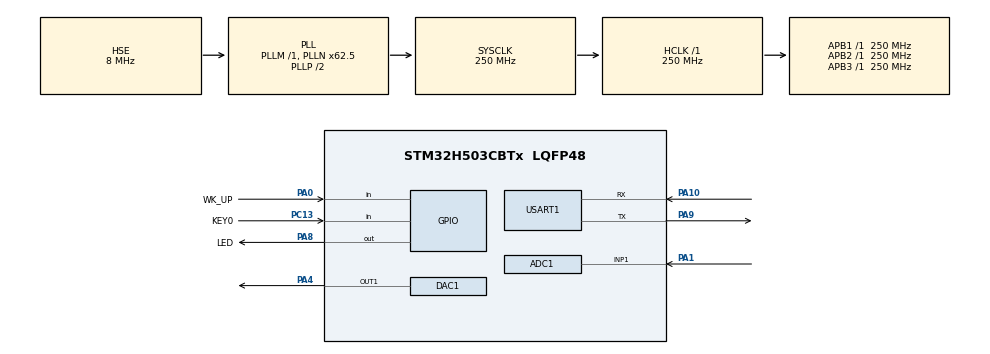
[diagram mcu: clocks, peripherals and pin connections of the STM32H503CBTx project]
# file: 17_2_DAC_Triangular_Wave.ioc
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ADC1.Channel-0\#ChannelRegularConversion=ADC_CHANNEL_1
ADC1.ClockPrescaler=ADC_CLOCK_ASYNC_DIV8
ADC1.MonitoredBy-0\#ChannelRegularConversion=__NULL
ADC1.NbrOfConversionFlag=1
ADC1.OffsetNumber-0\#ChannelRegularConversion=ADC_OFFSET_NONE
ADC1.Rank-0\#ChannelRegularConversion=1
ADC1.SamplingTime-0\#ChannelRegularConversion=ADC_SAMPLETIME_247CYCLES_5
ADC1.master=1
BOOTPATH.BootPathName=LEGACY
BOOTPATH.UserSelectedBootPath=LEGACY
DAC1.DAC_Channel-DAC_OUT1=DAC_CHANNEL_1
Mcu.Family=STM32H5
Mcu.Name=STM32H503CBTx
Mcu.Package=LQFP48
NVIC.PriorityGroup=NVIC_PRIORITYGROUP_2
NVIC.USART1_IRQn=true\:2\:2\:true\:false\:true\:true\:true\:true
PA0.GPIO_Label=WK_UP
PA0.GPIO_PuPd=GPIO_PULLDOWN
PA0.Signal=GPIO_Input
PA1.GPIO_PuPd=GPIO_NOPULL
PA1.Signal=ADCx_INP1
PA10.GPIO_ModeDefaultPP=GPIO_MODE_AF_PP
PA10.GPIO_Speed=GPIO_SPEED_FREQ_LOW
PA10.Mode=Asynchronous
PA10.Signal=USART1_RX
PA4.Signal=COMP_DAC11_group
PA8.GPIO_Label=LED
PA8.GPIO_ModeDefaultOutputPP=GPIO_MODE_OUTPUT_PP
PA8.GPIO_PuPd=GPIO_PULLUP
PA8.PinState=GPIO_PIN_SET
PA8.Signal=GPIO_Output
PA9.GPIO_Speed=GPIO_SPEED_FREQ_HIGH
PA9.Mode=Asynchronous
PA9.Signal=USART1_TX
PC13.GPIO_Label=KEY0
PC13.GPIO_PuPd=GPIO_PULLDOWN
PC13.Signal=GPIO_Input
PC14-OSC32_IN(OSC32_IN).Mode=LSE-External-Oscillator
PC14-OSC32_IN(OSC32_IN).Signal=RCC_OSC32_IN
PC15-OSC32_OUT(OSC32_OUT).Mode=LSE-External-Oscillator
PC15-OSC32_OUT(OSC32_OUT).Signal=RCC_OSC32_OUT
PH0-OSC_IN(PH0).Mode=HSE-External-Oscillator
PH0-OSC_IN(PH0).Signal=RCC_OSC_IN
PH1-OSC_OUT(PH1).Mode=HSE-External-Oscillator
PH1-OSC_OUT(PH1).Signal=RCC_OSC_OUT
ProjectManager.HeapSize=0x200
ProjectManager.StackSize=0x400
ProjectManager.TargetToolchain=STM32CubeIDE
RCC.ADCFreq_Value=250000000
RCC.AHBFreq_Value=250000000
RCC.APB1Freq_Value=250000000
RCC.APB1TimFreq_Value=250000000
RCC.APB2Freq_Value=250000000
RCC.APB2TimFreq_Value=250000000
RCC.APB3Freq_Value=250000000
RCC.CSI_VALUE=4000000
RCC.CortexFreq_Value=250000000
RCC.EPOD_VALUE=8000000
RCC.HCLKFreq_Value=250000000
RCC.HSE_VALUE=8000000
RCC.HSI48_VALUE=48000000
RCC.HSI_VALUE=64000000
RCC.LSIRC_VALUE=32000
RCC.PLL2Q=20
RCC.PLLFRACN=4096
RCC.PLLN=62
RCC.PLLSourceVirtual=RCC_PLL1_SOURCE_HSE
RCC.PREFETCH_ENABLE=1
RCC.SYSCLKFreq_VALUE=250000000
RCC.SYSCLKSource=RCC_SYSCLKSOURCE_PLLCLK
RCC.USBFreq_Value=48000000
RCC.VCOOutputFreq_Value=500000000
SH.ADCx_INP1.0=ADC1_INP1,IN1-Single-Ended
SH.COMP_DAC11_group.0=DAC1_OUT1,DAC_OUT1
USART1.VirtualMode=VM_ASYNC
VP_BOOTPATH_VS_BOOTPATH.Mode=BP_Activate
VP_ICACHE_VS_ICACHE.Mode=DefaultMode
VP_MEMORYMAP_VS_MEMORYMAP.Mode=CurAppReg
VP_PWR_VS_DBSignals.Mode=DisableDeadBatterySignals
VP_PWR_VS_LPOM.Mode=PowerOptimisation
VP_PWR_VS_SECSignals.Mode=Security/Privilege
board=custom

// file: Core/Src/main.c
/**
 ****************************************************************************************************
 * @file        main.c
 * @author      ALIENTEK
 * @brief       DAC_Triangular_Wave code
 * @license     Copyright (C) 2012-2024, ALIENTEK
 ****************************************************************************************************
 * @attention
 *
 * platform     : ALIENTEK M48-STM32H503 board
 * website      : www.alientek.com
 * forum        : www.openedv.com/forum.php
 *
 * change logs  ：
 * version      data         notes
 * V1.0         20240309     the first version
 *
 ****************************************************************************************************
 */

/* USER CODE BEGIN Header */

/* USER CODE END Header */
#include "main.h"
#include "adc.h"
#include "dac.h"
#include "icache.h"
#include "memorymap.h"
#include "usart.h"
#include "gpio.h"

/* USER CODE BEGIN Includes */
#include "../../BSP/LED/led.h"
#include "../../BSP/KEY/key.h"
#include "../../BSP/DELAY/delay.h"
/* USER CODE END Includes */

void SystemClock_Config(void);

/* USER CODE BEGIN 0 */
/**
 * @brief   Displays information about the experiment
 * @param   None
 * @retval  None
 */
void stm32h503cb_show_mesg(void)
{
	/* The serial port outputs the experimental information */
	printf("\n");
	printf("********************************\r\n");
	printf("STM32H503\r\n");
	printf("DAC Triangular WAVE Test\r\n");
	printf("ATOM@ALIENTEK\r\n");
	printf("KEY0:Wave1  WKUP:Wave2\r\n");
	printf("********************************\r\n");
	printf("\r\n");
}
/* USER CODE END 0 */

int main(void)
{
  /* USER CODE BEGIN 1 */
  uint8_t t = 0;
  uint8_t key;
  /* USER CODE END 1 */

  /* MCU Configuration--------------------------------------------------------*/

  /* Reset of all peripherals, Initializes the Flash interface and the Systick. */
  HAL_Init();

  /* Configure the system clock */
  SystemClock_Config();

  /* USER CODE BEGIN SysInit */
  delay_init(250);
  /* USER CODE END SysInit */

  /* Initialize all configured peripherals */
  MX_GPIO_Init();
  MX_DAC1_Init();
  MX_ICACHE_Init();
  MX_USART1_UART_Init();
  MX_ADC1_Init();

  /* USER CODE BEGIN 2 */
  stm32h503cb_show_mesg();
  /* USER CODE END 2 */

  /* Infinite loop */
  /* USER CODE BEGIN WHILE */
  while (1)
  {
	  t++;
	  key = key_scan(0);                            /* Scan key */

	  if (key == KEY0_PRES)                         /* High sampling rate */
	  {
		  printf("DAC Wave1 \r\n");
		  dac_triangular_wave(4095, 5, 2000, 100);  /* Amplitude 4095, sampling point interval 5us,2000 sampling points,100 waveforms */
		  printf("DAC None  \r\n");
	  }
	  else if (key == WKUP_PRES) /* Low sampling rate */
	  {
		  printf("DAC Wave2 \r\n");
		  dac_triangular_wave(4095, 500, 20, 100);  /* Amplitude 4095, sampling point interval 500us,20 sampling points,100 waveforms */
		  printf("DAC None  \r\n");
	  }

	  if (t == 10)
	  {
	     LED_TOGGLE();
	     t = 0;
	  }

	  HAL_Delay(10);   /* delay 10ms */

    /* USER CODE END WHILE */

  }
}

void SystemClock_Config(void)
{
  RCC_OscInitTypeDef RCC_OscInitStruct = {0};
  RCC_ClkInitTypeDef RCC_ClkInitStruct = {0};

  /** Configure the main internal regulator output voltage
  */
  __HAL_PWR_VOLTAGESCALING_CONFIG(PWR_REGULATOR_VOLTAGE_SCALE0);

  while(!__HAL_PWR_GET_FLAG(PWR_FLAG_VOSRDY)) {}

  /** Configure LSE Drive Capability
  */
  HAL_PWR_EnableBkUpAccess();
  __HAL_RCC_LSEDRIVE_CONFIG(RCC_LSEDRIVE_LOW);

  /** Initializes the RCC Oscillators according to the specified parameters
  * in the RCC_OscInitTypeDef structure.
  */
  RCC_OscInitStruct.OscillatorType = RCC_OSCILLATORTYPE_HSE|RCC_OSCILLATORTYPE_LSE;
  RCC_OscInitStruct.HSEState = RCC_HSE_ON;
  RCC_OscInitStruct.LSEState = RCC_LSE_ON;
  RCC_OscInitStruct.PLL.PLLState = RCC_PLL_ON;
  RCC_OscInitStruct.PLL.PLLSource = RCC_PLL1_SOURCE_HSE;
  RCC_OscInitStruct.PLL.PLLM = 1;
  RCC_OscInitStruct.PLL.PLLN = 62;
  RCC_OscInitStruct.PLL.PLLP = 2;
  RCC_OscInitStruct.PLL.PLLQ = 2;
  RCC_OscInitStruct.PLL.PLLR = 2;
  RCC_OscInitStruct.PLL.PLLRGE = RCC_PLL1_VCIRANGE_3;
  RCC_OscInitStruct.PLL.PLLVCOSEL = RCC_PLL1_VCORANGE_WIDE;
  RCC_OscInitStruct.PLL.PLLFRACN = 4096;
  if (HAL_RCC_OscConfig(&RCC_OscInitStruct) != HAL_OK)
  {
    Error_Handler();
  }

  /** Initializes the CPU, AHB and APB buses clocks
  */
  RCC_ClkInitStruct.ClockType = RCC_CLOCKTYPE_HCLK|RCC_CLOCKTYPE_SYSCLK
                              |RCC_CLOCKTYPE_PCLK1|RCC_CLOCKTYPE_PCLK2
                              |RCC_CLOCKTYPE_PCLK3;
  RCC_ClkInitStruct.SYSCLKSource = RCC_SYSCLKSOURCE_PLLCLK;
  RCC_ClkInitStruct.AHBCLKDivider = RCC_SYSCLK_DIV1;
  RCC_ClkInitStruct.APB1CLKDivider = RCC_HCLK_DIV1;
  RCC_ClkInitStruct.APB2CLKDivider = RCC_HCLK_DIV1;
  RCC_ClkInitStruct.APB3CLKDivider = RCC_HCLK_DIV1;

  if (HAL_RCC_ClockConfig(&RCC_ClkInitStruct, FLASH_LATENCY_5) != HAL_OK)
  {
    Error_Handler();
  }
}

void Error_Handler(void)
{
  __disable_irq();
  while (1)
  {
  }
}
